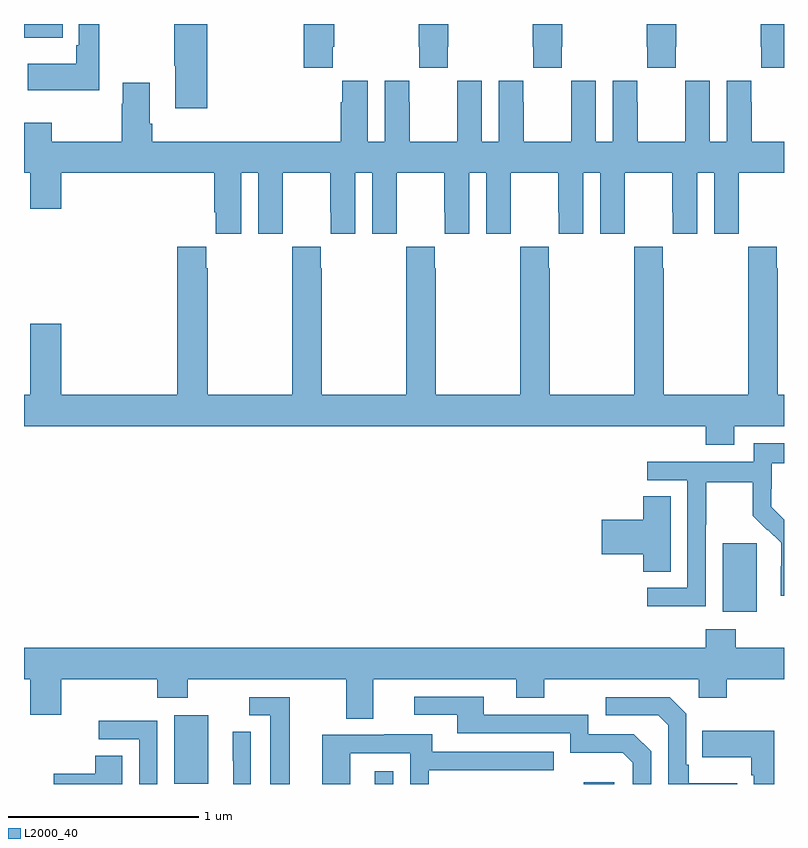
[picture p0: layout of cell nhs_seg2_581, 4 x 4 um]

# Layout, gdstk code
import gdstk
lib = gdstk.Library(unit=1e-6, precision=1e-09)
def R(c, l, rs):  # rectangles x0, y0, x1, y1
    for r in rs: c.add(gdstk.rectangle(r[:2], r[2:], *l))
def P(c, l, *ps):  # polygons
    for p in ps: c.add(gdstk.Polygon(p, *l))
L2000_40 = (2000, 40)

nhs_seg2_581 = lib.new_cell('nhs_seg2_581')
R(nhs_seg2_581, L2000_40, [(142.847,597.8,142.944,597.868), (143.945,597.8,144.106,597.808), (141.791,597.801,141.97,598.162), (144.677,598.706,144.856,599.067), (141,601.727,141.203,601.8)])
P(nhs_seg2_581, L2000_40, [(145,601.8),(144.877,601.8),(144.877,601.681),(144.879,601.681),(144.879,601.569),(145,601.569)],
  [(144.429,601.681),(144.432,601.681),(144.432,601.8),(144.277,601.8),(144.277,601.681),(144.279,601.681),(144.279,601.569),(144.429,601.569)],
  [(143.829,601.681),(143.832,601.681),(143.832,601.8),(143.677,601.8),(143.677,601.681),(143.679,601.681),(143.679,601.569),(143.829,601.569)],
  [(143.229,601.681),(143.232,601.681),(143.232,601.8),(143.077,601.8),(143.077,601.681),(143.079,601.681),(143.079,601.569),(143.229,601.569)],
  [(142.625,601.681),(142.632,601.681),(142.632,601.8),(142.472,601.8),(142.472,601.569),(142.625,601.569)],
  [(141.965,601.8),(141.79,601.8),(141.79,601.579),(141.797,601.579),(141.797,601.356),(141.965,601.356)],
  [(141.397,601.8),(141.288,601.8),(141.288,601.687),(141.276,601.687),(141.276,601.591),(141.019,601.591),(141.019,601.451),(141.397,601.451)],
  [(141.674,601.276),(141.661,601.276),(141.661,601.492),(141.521,601.492),(141.521,601.379),(141.514,601.379),(141.514,601.18),(141.147,601.18),(141.147,601.279),(141,601.279),(141,601.016),(141.032,601.016),(141.032,600.828),(141.196,600.828),(141.196,601.016),(142.001,601.016),(142.001,600.808),(142.01,600.808),(142.01,600.696),(142.144,600.696),(142.144,601.016),(142.232,601.016),(142.232,600.696),(142.362,600.696),(142.362,600.808),(142.363,600.808),(142.363,601.016),(142.613,601.016),(142.613,600.808),(142.614,600.808),(142.614,600.696),(142.744,600.696),(142.744,601.016),(142.832,601.016),(142.832,600.696),(142.962,600.696),(142.962,600.808),(142.963,600.808),(142.963,601.016),(143.213,601.016),(143.213,600.808),(143.214,600.808),(143.214,600.696),(143.344,600.696),(143.344,601.016),(143.432,601.016),(143.432,600.696),(143.562,600.696),(143.562,600.808),(143.563,600.808),(143.563,601.016),(143.813,601.016),(143.813,600.808),(143.814,600.808),(143.814,600.696),(143.944,600.696),(143.944,601.016),(144.032,601.016),(144.032,600.696),(144.162,600.696),(144.162,600.808),(144.163,600.808),(144.163,601.016),(144.413,601.016),(144.413,600.808),(144.414,600.808),(144.414,600.696),(144.544,600.696),(144.544,601.016),(144.632,601.016),(144.632,600.696),(144.762,600.696),(144.762,600.808),(144.763,600.808),(144.763,601.016),(145,601.016),(145,601.18),(144.829,601.18),(144.829,601.388),(144.828,601.388),(144.828,601.501),(144.698,601.501),(144.698,601.18),(144.61,601.18),(144.61,601.501),(144.48,601.501),(144.48,601.388),(144.479,601.388),(144.479,601.18),(144.229,601.18),(144.229,601.388),(144.228,601.388),(144.228,601.501),(144.098,601.501),(144.098,601.18),(144.01,601.18),(144.01,601.501),(143.88,601.501),(143.88,601.388),(143.879,601.388),(143.879,601.18),(143.629,601.18),(143.629,601.388),(143.628,601.388),(143.628,601.501),(143.498,601.501),(143.498,601.18),(143.41,601.18),(143.41,601.501),(143.28,601.501),(143.28,601.388),(143.279,601.388),(143.279,601.18),(143.029,601.18),(143.029,601.388),(143.028,601.388),(143.028,601.501),(142.898,601.501),(142.898,601.18),(142.81,601.18),(142.81,601.501),(142.676,601.501),(142.676,601.388),(142.667,601.388),(142.667,601.18),(141.674,601.18)],
  [(144.739,599.684),(145,599.684),(145,599.848),(144.966,599.848),(144.966,600.515),(144.963,600.515),(144.963,600.628),(144.813,600.628),(144.813,600.515),(144.811,600.515),(144.811,599.848),(144.366,599.848),(144.366,600.515),(144.363,600.515),(144.363,600.628),(144.213,600.628),(144.213,600.515),(144.211,600.515),(144.211,599.848),(143.766,599.848),(143.766,600.515),(143.763,600.515),(143.763,600.628),(143.613,600.628),(143.613,600.515),(143.611,600.515),(143.611,599.848),(143.166,599.848),(143.166,600.515),(143.163,600.515),(143.163,600.628),(143.013,600.628),(143.013,600.515),(143.011,600.515),(143.011,599.848),(142.566,599.848),(142.566,600.515),(142.563,600.515),(142.563,600.628),(142.413,600.628),(142.413,600.515),(142.411,600.515),(142.411,599.848),(141.966,599.848),(141.966,600.515),(141.959,600.515),(141.959,600.628),(141.806,600.628),(141.806,599.848),(141.196,599.848),(141.196,600.223),(141.032,600.223),(141.032,599.848),(141,599.848),(141,599.684),(144.587,599.684),(144.587,599.585),(144.739,599.585)],
  [(144.588,599.164),(144.591,599.164),(144.591,599.388),(144.835,599.388),(144.835,599.213),(144.912,599.136),(144.915,599.139),(144.986,599.069),(144.986,598.946),(144.984,598.946),(144.984,598.792),(145,598.792),(145,599.192),(144.934,599.258),(144.934,599.355),(144.936,599.355),(144.936,599.489),(145,599.489),(145,599.593),(144.84,599.593),(144.84,599.496),(144.279,599.496),(144.279,599.4),(144.492,599.4),(144.492,598.833),(144.279,598.833),(144.279,598.735),(144.588,598.735)],
  [(144.403,599.315),(144.26,599.315),(144.26,599.192),(144.042,599.192),(144.042,599.009),(144.26,599.009),(144.26,598.918),(144.403,598.918)],
  [(142.837,598.352),(143.591,598.352),(143.591,598.253),(143.739,598.253),(143.739,598.352),(144.552,598.352),(144.552,598.253),(144.699,598.253),(144.699,598.352),(145,598.352),(145,598.516),(144.747,598.516),(144.747,598.615),(144.587,598.615),(144.587,598.516),(141,598.516),(141,598.352),(141.032,598.352),(141.032,598.164),(141.196,598.164),(141.196,598.352),(141.701,598.352),(141.701,598.253),(141.861,598.253),(141.861,598.352),(142.697,598.352),(142.697,598.144),(142.837,598.144)],
  [(144.3,597.972),(144.21,598.062),(143.97,598.062),(143.97,598.164),(143.419,598.164),(143.419,598.26),(143.055,598.26),(143.055,598.164),(143.279,598.164),(143.279,598.068),(143.874,598.068),(143.874,597.965),(144.151,597.965),(144.204,597.912),(144.204,597.8),(144.3,597.8)],
  [(144.755,597.805),(144.499,597.805),(144.499,597.901),(144.486,597.901),(144.486,598.17),(144.399,598.257),(144.063,598.257),(144.063,598.161),(144.339,598.161),(144.39,598.11),(144.39,597.8),(144.755,597.8)],
  [(142.399,598.257),(142.185,598.257),(142.185,598.161),(142.295,598.161),(142.295,597.8),(142.399,597.8)],
  [(141.702,598.134),(141.393,598.134),(141.393,598.035),(141.606,598.035),(141.606,597.8),(141.702,597.8)],
  [(144.949,598.081),(144.571,598.081),(144.571,597.941),(144.828,597.941),(144.828,597.845),(144.84,597.845),(144.84,597.8),(144.949,597.8)],
  [(142.194,598.076),(142.098,598.076),(142.098,597.922),(142.1,597.922),(142.1,597.8),(142.194,597.8)],
  [(142.716,597.963),(143.034,597.963),(143.034,597.8),(143.13,597.8),(143.13,597.873),(143.789,597.873),(143.789,597.969),(143.149,597.969),(143.149,598.063),(142.895,598.063),(142.895,598.059),(142.571,598.059),(142.571,597.8),(142.716,597.8)],
  [(141.517,597.95),(141.374,597.95),(141.374,597.855),(141.156,597.855),(141.156,597.8),(141.517,597.8)])

lib.write_gds('nhs_seg2_581.gds')
